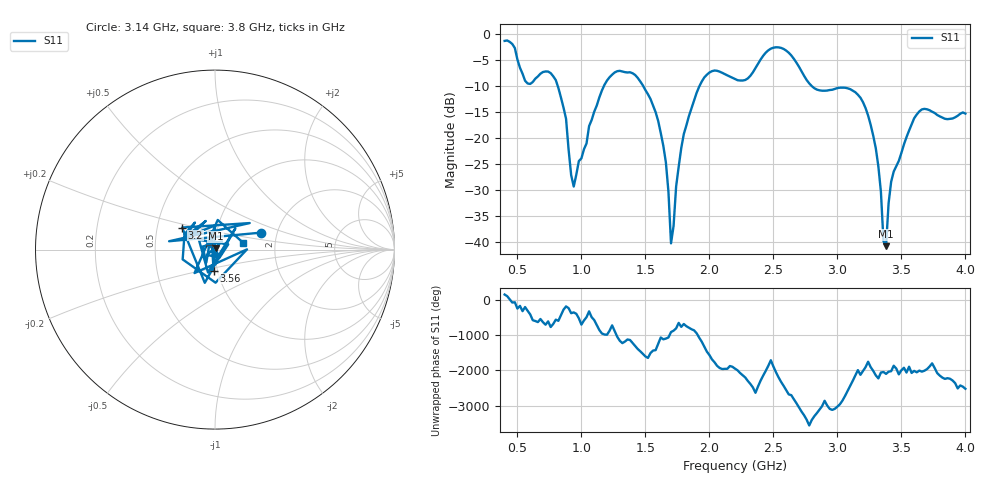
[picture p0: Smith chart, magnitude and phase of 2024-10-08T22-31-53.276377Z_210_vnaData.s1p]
! Created with skrf (http://scikit-rf.org).
# Hz S RI R 50.0
!freq ReS11 ImS11
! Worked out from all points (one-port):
!   181 points, 400 MHz to 4 GHz, reference 50 ohm
!   lowest |S11| = -40.9 dB at 3.38 GHz (marker M1), VSWR 1.02, Z = 50.4 + j0.815 ohm
!   |S11| at or under -10 dB: 814.9 MHz to 1.176 GHz (361.5 MHz wide, 36.3 % of centre); 1.482 GHz to 1.923 GHz (440.7 MHz wide, 25.9 % of centre); 2.798 GHz to end of sweep
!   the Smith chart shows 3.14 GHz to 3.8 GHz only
!   S11 on the Smith chart (normalised r, x): 3.14 GHz: 1.65, +0.34; 3.2 GHz: 0.67, +0.17; 3.56 GHz: 0.96, -0.23; 3.8 GHz: 1.37, +0.11
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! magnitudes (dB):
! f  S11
! 400 MHz  -1.3
! 580 MHz  -9.5
! 760 MHz  -7.5
! 860 MHz  -14.2
! 940 MHz  -29.4
! 1.16 GHz  -10.9
! 1.3 GHz  -7.1
! 1.58 GHz  -15.1
! 1.66 GHz  -24.7
! 1.7 GHz  -40.3
! 1.76 GHz  -25.6
! 1.96 GHz  -8.4
! 2.2 GHz  -8.7
! 2.5 GHz  -2.6
! 2.66 GHz  -4.8
! 2.84 GHz  -10.7
! 3.1 GHz  -10.6
! 3.14 GHz  -11.2
! 3.2 GHz  -13.1
! 3.3 GHz  -22.0
! 3.34 GHz  -30.4
! 3.36 GHz  -39.9
! 3.38 GHz  -40.9
! 3.42 GHz  -28.5
! 3.56 GHz  -18.6
! 3.66 GHz  -14.5
! 3.8 GHz  -15.9
! 4 GHz  -15.3
